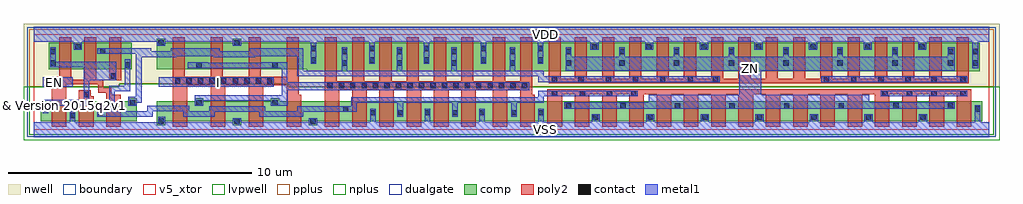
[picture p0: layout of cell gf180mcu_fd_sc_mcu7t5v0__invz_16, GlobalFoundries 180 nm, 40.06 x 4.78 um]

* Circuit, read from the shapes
.subckt gf180mcu_fd_sc_mcu7t5v0__invz_16 EN I VDD VSS ZN
XM1 VSS EN n1 VSUBS nfet_05v0 w=0.82u l=0.6u
XM2 n2 n1 VSS VSUBS nfet_05v0 w=0.82u l=0.6u
XM3 n3 EN n2 VSUBS nfet_05v0 w=0.82u l=0.6u
XM4 n4 I VSS VSUBS nfet_05v0 w=0.82u l=0.6u m=4
XM5 n2 n4 VSS VSUBS nfet_05v0 w=0.82u l=0.6u m=8
XM6 ZN n2 VSS VSUBS nfet_05v0 w=0.82u l=0.6u m=16
XM7 VDD EN n1 n5 pfet_05v0 w=1.095u l=0.5u
XM8 n3 EN VDD n5 pfet_05v0 w=1.095u l=0.5u
XM9 n2 n1 n3 n5 pfet_05v0 w=1.095u l=0.5u
XM10 n4 I VDD n5 pfet_05v0 w=1.095u l=0.5u m=4
XM11 n3 n4 VDD n5 pfet_05v0 w=1.18u l=0.5u m=8
XM12 ZN n3 VDD n5 pfet_05v0 w=1.18u l=0.5u m=16
.ends

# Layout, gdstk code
import gdstk
lib = gdstk.Library(unit=1e-6, precision=1e-09)
def R(c, l, rs):  # rectangles x0, y0, x1, y1
    for r in rs: c.add(gdstk.rectangle(r[:2], r[2:], *l))
def A(c, l, x, y, w, h, nx, ny, dx, dy):  # array of equal rectangles
    R(c, l, [(x+i*dx, y+j*dy, x+i*dx+w, y+j*dy+h) for i in range(nx) for j in range(ny)])
def P(c, l, *ps):  # polygons
    for p in ps: c.add(gdstk.Polygon(p, *l))
boundary = (0, 0)
nwell = (21, 0)
comp = (22, 0)
poly2 = (30, 0)
pplus = (31, 0)
nplus = (32, 0)
contact = (33, 0)
metal1 = (34, 0)
dualgate = (55, 0)
v5_xtor = (112, 1)
lvpwell = (204, 0)

gf180mcu_fd_sc_mcu7t5v0_ = lib.new_cell('gf180mcu_fd_sc_mcu7t5v0__invz_16')
R(gf180mcu_fd_sc_mcu7t5v0_, boundary, [(0,0,39.2,3.92)])
P(gf180mcu_fd_sc_mcu7t5v0_, nwell, [(-0.43,1.76),(-0.43,4.35),(39.63,4.35),(39.63,1.76),(10.445,1.76),(10.445,1.885),(3.495,1.885),(3.495,1.76)])
R(gf180mcu_fd_sc_mcu7t5v0_, comp, [(0.6,2.485,4.02,3.58)])
P(gf180mcu_fd_sc_mcu7t5v0_, comp, [(0.285,0.34),(0.285,1.16),(3.865,1.16),(3.865,1.285),(4.225,1.285),(4.225,0.34)],
  [(11.195,2.4),(11.195,2.485),(5.035,2.485),(5.035,3.74),(5.395,3.74),(5.395,3.58),(8.155,3.58),(8.155,3.74),(8.515,3.74),(8.515,3.58),(38.815,3.58),(38.815,2.4)],
  [(5.035,0.18),(5.035,1.16),(6.595,1.16),(6.595,1.285),(6.955,1.285),(6.955,1.16),(9.715,1.16),(9.715,1.285),(10.075,1.285),(10.075,1.16),(38.915,1.16),(38.915,0.34),(11.635,0.34),(11.635,0.18),(11.275,0.18),(11.275,0.34),(8.515,0.34),(8.515,0.18),(8.155,0.18),(8.155,0.34),(5.395,0.34),(5.395,0.18)])
R(gf180mcu_fd_sc_mcu7t5v0_, poly2, [(3.08,2.025,3.58,3.8)])
P(gf180mcu_fd_sc_mcu7t5v0_, poly2, [(1.845,0.12),(1.845,1.62),(2.34,1.62),(2.34,1.38),(2.445,1.38),(2.445,0.12)],
  [(0.725,0.12),(0.725,2.185),(1.04,2.185),(1.04,3.8),(1.54,3.8),(1.54,2.06),(2.06,2.06),(2.06,3.8),(2.56,3.8),(2.56,2.06),(2.84,2.06),(2.84,1.725),(3.165,1.725),(3.165,1.44),(3.565,1.44),(3.565,0.12),(2.965,0.12),(2.965,1.525),(2.64,1.525),(2.64,1.86),(1.325,1.86),(1.325,0.12)],
  [(5.695,0.12),(5.695,3.8),(6.195,3.8),(6.195,2.185),(7.255,2.185),(7.255,3.8),(7.755,3.8),(7.755,2.185),(8.815,2.185),(8.815,3.8),(9.315,3.8),(9.315,2.185),(10.375,2.185),(10.375,3.8),(10.875,3.8),(10.875,1.44),(10.975,1.44),(10.975,0.12),(10.375,0.12),(10.375,1.825),(9.415,1.825),(9.415,0.12),(8.815,0.12),(8.815,1.825),(7.855,1.825),(7.855,0.12),(7.255,0.12),(7.255,1.825),(6.295,1.825),(6.295,0.12)],
  [(11.935,0.12),(11.935,3.8),(12.435,3.8),(12.435,1.995),(13.055,1.995),(13.055,3.8),(13.555,3.8),(13.555,1.995),(14.175,1.995),(14.175,3.8),(14.675,3.8),(14.675,1.995),(15.295,1.995),(15.295,3.8),(15.795,3.8),(15.795,1.995),(16.415,1.995),(16.415,3.8),(16.915,3.8),(16.915,1.995),(17.535,1.995),(17.535,3.8),(18.035,3.8),(18.035,1.995),(18.835,1.995),(18.835,3.8),(19.335,3.8),(19.335,1.995),(19.955,1.995),(19.955,3.8),(20.455,3.8),(20.455,1.435),(20.555,1.435),(20.555,0.12),(19.955,0.12),(19.955,1.635),(19.435,1.635),(19.435,0.12),(18.835,0.12),(18.835,1.635),(18.135,1.635),(18.135,0.12),(17.535,0.12),(17.535,1.635),(17.015,1.635),(17.015,0.12),(16.415,0.12),(16.415,1.635),(15.895,1.635),(15.895,0.12),(15.295,0.12),(15.295,1.635),(14.775,1.635),(14.775,0.12),(14.175,0.12),(14.175,1.635),(13.655,1.635),(13.655,0.12),(13.055,0.12),(13.055,1.635),(12.535,1.635),(12.535,0.12)],
  [(21.125,1.9),(21.125,3.8),(21.625,3.8),(21.625,2.1),(22.195,2.1),(22.195,3.8),(22.695,3.8),(22.695,2.1),(23.315,2.1),(23.315,3.8),(23.815,3.8),(23.815,2.1),(24.435,2.1),(24.435,3.8),(24.935,3.8),(24.935,2.1),(25.555,2.1),(25.555,3.8),(26.055,3.8),(26.055,2.1),(26.675,2.1),(26.675,3.8),(27.175,3.8),(27.175,2.1),(27.795,2.1),(27.795,3.8),(28.295,3.8),(28.295,2.1),(28.915,2.1),(28.915,3.8),(29.415,3.8),(29.415,2.1),(30.035,2.1),(30.035,3.8),(30.535,3.8),(30.535,2.1),(31.155,2.1),(31.155,3.8),(31.655,3.8),(31.655,2.1),(32.275,2.1),(32.275,3.8),(32.775,3.8),(32.775,2.1),(33.395,2.1),(33.395,3.8),(33.895,3.8),(33.895,2.1),(34.515,2.1),(34.515,3.8),(35.015,3.8),(35.015,2.1),(35.635,2.1),(35.635,3.8),(36.135,3.8),(36.135,2.1),(36.755,2.1),(36.755,3.8),(37.255,3.8),(37.255,2.1),(37.875,2.1),(37.875,3.8),(38.375,3.8),(38.375,1.9)],
  [(21.075,0.12),(21.075,1.66),(38.475,1.66),(38.475,0.12),(37.875,0.12),(37.875,1.46),(37.355,1.46),(37.355,0.12),(36.755,0.12),(36.755,1.46),(36.235,1.46),(36.235,0.12),(35.635,0.12),(35.635,1.46),(35.115,1.46),(35.115,0.12),(34.515,0.12),(34.515,1.46),(33.995,1.46),(33.995,0.12),(33.395,0.12),(33.395,1.46),(32.875,1.46),(32.875,0.12),(32.275,0.12),(32.275,1.46),(31.755,1.46),(31.755,0.12),(31.155,0.12),(31.155,1.46),(30.635,1.46),(30.635,0.12),(30.035,0.12),(30.035,1.46),(29.515,1.46),(29.515,0.12),(28.915,0.12),(28.915,1.46),(28.395,1.46),(28.395,0.12),(27.795,0.12),(27.795,1.46),(27.275,1.46),(27.275,0.12),(26.675,0.12),(26.675,1.46),(26.155,1.46),(26.155,0.12),(25.555,0.12),(25.555,1.46),(25.035,1.46),(25.035,0.12),(24.435,0.12),(24.435,1.46),(23.915,1.46),(23.915,0.12),(23.315,0.12),(23.315,1.46),(22.795,1.46),(22.795,0.12),(22.195,0.12),(22.195,1.46),(21.675,1.46),(21.675,0.12)])
P(gf180mcu_fd_sc_mcu7t5v0_, pplus, [(-0.2,1.76),(-0.2,4.12),(39.4,4.12),(39.4,1.76),(10.445,1.76),(10.445,1.885),(3.495,1.885),(3.495,1.76)])
P(gf180mcu_fd_sc_mcu7t5v0_, nplus, [(-0.2,-0.2),(-0.2,1.76),(3.495,1.76),(3.495,1.885),(10.445,1.885),(10.445,1.76),(39.4,1.76),(39.4,-0.2)])
A(gf180mcu_fd_sc_mcu7t5v0_, contact, 5.105, 0.25, 0.22, 0.22, 3, 1, 3.12, 0)
A(gf180mcu_fd_sc_mcu7t5v0_, contact, 22.945, 0.41, 0.22, 0.22, 7, 1, 2.24, 0)
A(gf180mcu_fd_sc_mcu7t5v0_, contact, 13.805, 0.59, 0.22, 0.22, 5, 1, 1.12, 0)
A(gf180mcu_fd_sc_mcu7t5v0_, contact, 21.825, 0.87, 0.22, 0.22, 8, 1, 2.24, 0)
A(gf180mcu_fd_sc_mcu7t5v0_, contact, 12.035, 1.705, 0.22, 0.22, 18, 1, 0.47, 0)
A(gf180mcu_fd_sc_mcu7t5v0_, contact, 5.79, 1.895, 0.22, 0.22, 5, 1, 0.47, 0)
A(gf180mcu_fd_sc_mcu7t5v0_, contact, 8.16, 1.895, 0.22, 0.22, 4, 1, 0.47, 0)
A(gf180mcu_fd_sc_mcu7t5v0_, contact, 24.575, 1.97, 0.22, 0.22, 3, 1, 1.125, 0)
A(gf180mcu_fd_sc_mcu7t5v0_, contact, 32.415, 1.97, 0.22, 0.22, 3, 1, 1.12, 0)
A(gf180mcu_fd_sc_mcu7t5v0_, contact, 27.39, 3.29, 0.22, 0.22, 4, 1, 2.24, 0)
R(gf180mcu_fd_sc_mcu7t5v0_, contact, [(1.475,0.47,1.695,0.69), (19.585,0.59,19.805,0.81), (20.705,0.59,20.925,0.81), (2.595,0.605,2.815,0.825), (0.355,0.735,0.575,0.955), (12.685,0.735,12.905,0.955), (38.625,0.735,38.845,0.955), (3.935,0.995,4.155,1.215), (6.665,0.995,6.885,1.215), (9.785,0.995,10.005,1.215), (2.05,1.33,2.27,1.55), (21.26,1.37,21.48,1.59), (22.4,1.37,22.62,1.59), (23.515,1.37,23.735,1.59), (24.505,1.37,24.725,1.59), (34.825,1.37,35.045,1.59), (35.82,1.37,36.04,1.59), (36.825,1.37,37.045,1.59), (38.02,1.37,38.24,1.59), (0.97,1.895,1.19,2.115), (21.25,1.97,21.47,2.19), (22.34,1.97,22.56,2.19), (23.465,1.97,23.685,2.19), (27.865,1.97,28.085,2.19), (35.77,1.97,35.99,2.19), (36.825,1.97,37.045,2.19), (38.02,1.97,38.24,2.19), (3.15,2.095,3.37,2.315), (3.73,2.555,3.95,2.775), (6.665,2.555,6.885,2.775), (9.785,2.555,10.005,2.775), (0.67,2.63,0.89,2.85), (12.635,2.63,12.855,2.85), (14.885,2.63,15.105,2.85), (17.13,2.63,17.35,2.85), (19.525,2.63,19.745,2.85), (21.825,2.63,22.045,2.85), (24.03,2.63,24.25,2.85), (26.26,2.63,26.48,2.85), (28.515,2.63,28.735,2.85), (30.76,2.63,30.98,2.85), (32.98,2.63,33.2,2.85), (35.23,2.63,35.45,2.85), (37.505,2.63,37.725,2.85), (38.525,2.63,38.745,2.85), (11.355,2.76,11.575,2.98), (13.765,2.76,13.985,2.98), (16,2.76,16.22,2.98), (18.335,2.76,18.555,2.98), (20.685,2.76,20.905,2.98), (0.67,3.1,0.89,3.32), (12.635,3.1,12.855,3.32), (14.885,3.1,15.105,3.32), (17.13,3.1,17.35,3.32), (19.525,3.1,19.745,3.32), (21.825,3.1,22.045,3.32), (24.03,3.1,24.25,3.32), (26.26,3.1,26.48,3.32), (28.515,3.1,28.735,3.32), (30.76,3.1,30.98,3.32), (32.98,3.1,33.2,3.32), (35.23,3.1,35.45,3.32), (37.505,3.1,37.725,3.32), (38.525,3.1,38.745,3.32), (2.71,3.125,2.93,3.345), (11.355,3.23,11.575,3.45), (13.765,3.23,13.985,3.45), (16,3.23,16.22,3.45), (18.335,3.23,18.555,3.45), (20.685,3.23,20.905,3.45), (1.69,3.29,1.91,3.51), (22.895,3.29,23.115,3.51), (25.14,3.29,25.36,3.51), (36.345,3.29,36.565,3.51), (5.105,3.45,5.325,3.67), (8.225,3.45,8.445,3.67)])
R(gf180mcu_fd_sc_mcu7t5v0_, metal1, [(34.765,1.365,38.3,1.595), (0.37,1.77,1.59,2.15), (5.13,1.77,9.85,2.15), (32.315,1.96,38.3,2.195)])
P(gf180mcu_fd_sc_mcu7t5v0_, metal1, [(0.35,0.675),(0.35,1.225),(2.045,1.225),(2.045,2.57),(0.665,2.57),(0.665,3.38),(0.895,3.38),(0.895,2.8),(3.375,2.8),(3.375,2.035),(2.275,2.035),(2.275,0.99),(0.58,0.99),(0.58,0.675)],
  [(6.595,0.99),(6.595,1.42),(10.175,1.42),(10.175,2.525),(6.31,2.525),(6.31,2.78),(7.125,2.78),(7.125,2.755),(9.315,2.755),(9.315,2.78),(10.405,2.78),(10.405,1.96),(20.325,1.96),(20.325,1.63),(10.415,1.63),(10.415,0.99),(9.715,0.99),(9.715,1.19),(6.955,1.19),(6.955,0.99)],
  [(2.59,0.53),(2.59,0.885),(3.08,0.885),(3.08,1.805),(3.725,1.805),(3.725,2.89),(3.955,2.89),(3.955,1.575),(3.31,1.575),(3.31,0.76),(4.64,0.76),(4.64,0.99),(6.365,0.99),(6.365,0.76),(7.185,0.76),(7.185,0.96),(9.485,0.96),(9.485,0.76),(10.815,0.76),(10.815,0.96),(13.025,0.96),(13.025,1.33),(20.7,1.33),(20.7,1.595),(24.785,1.595),(24.785,1.365),(20.93,1.365),(20.93,1.1),(19.81,1.1),(19.81,0.53),(19.58,0.53),(19.58,1.1),(17.39,1.1),(17.39,0.53),(17.16,0.53),(17.16,1.1),(15.15,1.1),(15.15,0.53),(14.92,0.53),(14.92,1.1),(13.255,1.1),(13.255,0.73),(11.045,0.73),(11.045,0.53),(9.255,0.53),(9.255,0.73),(7.415,0.73),(7.415,0.53),(6.135,0.53),(6.135,0.76),(4.87,0.76),(4.87,0.53)],
  [(3.865,0.99),(3.865,1.345),(4.185,1.345),(4.185,3.12),(2.59,3.12),(2.59,3.35),(4.815,3.35),(4.815,3.215),(5.615,3.215),(5.615,3.355),(7.615,3.355),(7.615,3.215),(8.855,3.215),(8.855,3.355),(11.045,3.355),(11.045,2.425),(12.63,2.425),(12.63,3.38),(12.86,3.38),(12.86,2.425),(14.88,2.425),(14.88,3.38),(15.11,3.38),(15.11,2.425),(17.125,2.425),(17.125,3.38),(17.355,3.38),(17.355,2.425),(19.52,2.425),(19.52,3.38),(19.75,3.38),(19.75,2.425),(20.93,2.425),(20.93,2.195),(28.145,2.195),(28.145,1.96),(20.7,1.96),(20.7,2.19),(10.815,2.19),(10.815,3.01),(9.085,3.01),(9.085,2.985),(7.385,2.985),(7.385,3.01),(5.845,3.01),(5.845,2.985),(4.415,2.985),(4.415,1.115),(4.225,1.115),(4.225,0.99)],
  [(21.755,0.865),(21.755,1.135),(25.24,1.135),(25.24,1.445),(28.95,1.445),(28.95,2.425),(21.82,2.425),(21.82,3.38),(22.05,3.38),(22.05,3.005),(24.025,3.005),(24.025,3.38),(24.255,3.38),(24.255,3.005),(26.255,3.005),(26.255,3.38),(26.485,3.38),(26.485,3.005),(28.51,3.005),(28.51,3.38),(28.74,3.38),(28.74,3.005),(30.755,3.005),(30.755,3.38),(30.985,3.38),(30.985,3.005),(32.975,3.005),(32.975,3.38),(33.205,3.38),(33.205,3.005),(35.225,3.005),(35.225,3.38),(35.455,3.38),(35.455,3.005),(37.5,3.005),(37.5,3.38),(37.785,3.38),(37.785,2.425),(29.85,2.425),(29.85,1.445),(34.285,1.445),(34.285,1.135),(37.785,1.135),(37.785,0.865)],
  [(0,-0.3),(0,0.3),(1.47,0.3),(1.47,0.76),(1.7,0.76),(1.7,0.3),(5.1,0.3),(5.1,0.53),(5.385,0.53),(5.385,0.3),(8.155,0.3),(8.155,0.475),(8.515,0.475),(8.515,0.3),(11.275,0.3),(11.275,0.475),(11.635,0.475),(11.635,0.3),(13.8,0.3),(13.8,0.87),(14.03,0.87),(14.03,0.3),(16.04,0.3),(16.04,0.87),(16.27,0.87),(16.27,0.3),(18.28,0.3),(18.28,0.87),(18.51,0.87),(18.51,0.3),(20.7,0.3),(20.7,0.87),(20.93,0.87),(20.93,0.3),(22.885,0.3),(22.885,0.635),(23.225,0.635),(23.225,0.3),(25.125,0.3),(25.125,0.635),(25.465,0.635),(25.465,0.3),(27.365,0.3),(27.365,0.635),(27.705,0.635),(27.705,0.3),(29.605,0.3),(29.605,0.635),(29.945,0.635),(29.945,0.3),(31.845,0.3),(31.845,0.635),(32.185,0.635),(32.185,0.3),(34.085,0.3),(34.085,0.635),(34.425,0.635),(34.425,0.3),(36.325,0.3),(36.325,0.635),(36.665,0.635),(36.665,0.3),(38.62,0.3),(38.62,1.015),(38.85,1.015),(38.85,0.3),(39.2,0.3),(39.2,-0.3)],
  [(38.52,2.53),(38.52,3.62),(36.625,3.62),(36.625,3.285),(36.285,3.285),(36.285,3.62),(34.39,3.62),(34.39,3.285),(34.05,3.285),(34.05,3.62),(32.15,3.62),(32.15,3.285),(31.81,3.285),(31.81,3.62),(29.91,3.62),(29.91,3.285),(29.57,3.285),(29.57,3.62),(27.67,3.62),(27.67,3.285),(27.33,3.285),(27.33,3.62),(25.42,3.62),(25.42,3.285),(25.08,3.285),(25.08,3.62),(23.175,3.62),(23.175,3.285),(22.835,3.285),(22.835,3.62),(20.91,3.62),(20.91,2.7),(20.68,2.7),(20.68,3.62),(18.56,3.62),(18.56,2.7),(18.33,2.7),(18.33,3.62),(16.225,3.62),(16.225,2.7),(15.995,2.7),(15.995,3.62),(13.99,3.62),(13.99,2.7),(13.76,2.7),(13.76,3.62),(11.58,3.62),(11.58,2.7),(11.35,2.7),(11.35,3.62),(8.515,3.62),(8.515,3.445),(8.155,3.445),(8.155,3.62),(5.385,3.62),(5.385,3.445),(5.045,3.445),(5.045,3.62),(1.97,3.62),(1.97,3.285),(1.63,3.285),(1.63,3.62),(0,3.62),(0,4.22),(39.2,4.22),(39.2,3.62),(38.75,3.62),(38.75,2.53)])
R(gf180mcu_fd_sc_mcu7t5v0_, dualgate, [(-0.28,-0.28,39.48,4.2)])
R(gf180mcu_fd_sc_mcu7t5v0_, v5_xtor, [(0,0,39.2,3.92)])
P(gf180mcu_fd_sc_mcu7t5v0_, lvpwell, [(-0.43,-0.43),(-0.43,1.76),(3.495,1.76),(3.495,1.885),(10.445,1.885),(10.445,1.76),(39.63,1.76),(39.63,-0.43)])
gf180mcu_fd_sc_mcu7t5v0_.add(gdstk.Label('VDD', (21,3.92), layer=34, texttype=10))
gf180mcu_fd_sc_mcu7t5v0_.add(gdstk.Label('VSS', (21,0), layer=34, texttype=10))
gf180mcu_fd_sc_mcu7t5v0_.add(gdstk.Label('ZN', (29.4,2.52), layer=34, texttype=10))
gf180mcu_fd_sc_mcu7t5v0_.add(gdstk.Label('EN', (0.84,1.96), layer=34, texttype=10))
gf180mcu_fd_sc_mcu7t5v0_.add(gdstk.Label('I', (7.56,1.96), layer=34, texttype=10))
gf180mcu_fd_sc_mcu7t5v0_.add(gdstk.Label('& Vendor GLOBALFOUNDRIES', (0,2), layer=63, texttype=63))
gf180mcu_fd_sc_mcu7t5v0_.add(gdstk.Label('& Product GF018hv5v_mcu_sc7', (0,1.5), layer=63, texttype=63))
gf180mcu_fd_sc_mcu7t5v0_.add(gdstk.Label('& Version 2015q2v1', (0,1), layer=63, texttype=63))
gf180mcu_fd_sc_mcu7t5v0_.add(gdstk.Label('& Metric 1.00', (0,0.5), layer=63, texttype=63))

lib.write_gds('gf180mcu_fd_sc_mcu7t5v0__invz_16.gds')
